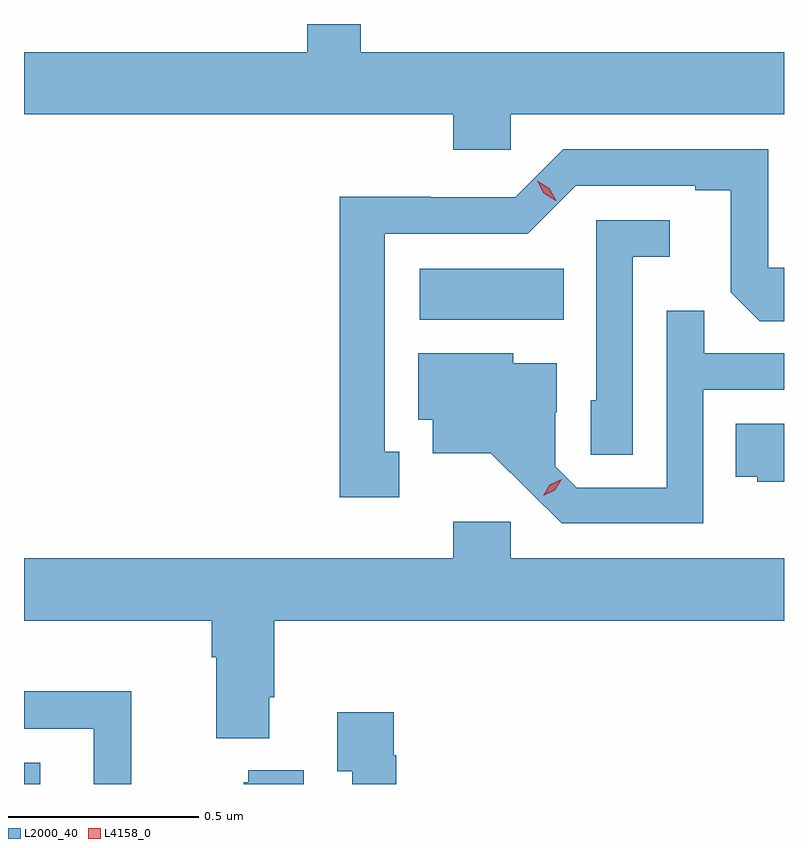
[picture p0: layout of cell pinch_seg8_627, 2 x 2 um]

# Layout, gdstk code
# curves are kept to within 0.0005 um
import gdstk
lib = gdstk.Library(unit=1e-6, precision=1e-09)
def R(c, l, rs):  # rectangles x0, y0, x1, y1
    for r in rs: c.add(gdstk.rectangle(r[:2], r[2:], *l))
def P(c, l, *ps):  # polygons
    for p in ps: c.add(gdstk.Polygon(p, *l))
L2000_40 = (2000, 40)
L4158_0 = (4158, 0)

pinch_seg8_627 = lib.new_cell('pinch_seg8_627')
R(pinch_seg8_627, L2000_40, [(137.889,1100.086,137.932,1100.142), (138.93,1101.308,139.31,1101.442)])
P(pinch_seg8_627, L2000_40, [(139.17,1101.848),(139.889,1101.848),(139.889,1102.012),(138.775,1102.012),(138.775,1102.086),(138.635,1102.086),(138.635,1102.012),(137.889,1102.012),(137.889,1101.848),(139.019,1101.848),(139.019,1101.755),(139.17,1101.755)],
  [(138.877,1100.961),(138.838,1100.961),(138.838,1101.534),(139.215,1101.534),(139.341,1101.66),(139.655,1101.66),(139.655,1101.648),(139.749,1101.648),(139.749,1101.38),(139.825,1101.304),(139.889,1101.304),(139.889,1101.444),(139.848,1101.444),(139.848,1101.756),(139.308,1101.756),(139.182,1101.63),(138.96,1101.63),(138.96,1101.632),(138.72,1101.632),(138.72,1100.841),(138.877,1100.841)],
  [(139.491,1101.473),(139.588,1101.473),(139.588,1101.57),(139.395,1101.57),(139.395,1101.096),(139.38,1101.096),(139.38,1100.953),(139.491,1100.953)],
  [(139.677,1101.123),(139.889,1101.123),(139.889,1101.219),(139.679,1101.219),(139.679,1101.332),(139.581,1101.332),(139.581,1100.865),(139.344,1100.865),(139.287,1100.922),(139.287,1101.064),(139.291,1101.064),(139.291,1101.193),(139.176,1101.193),(139.176,1101.22),(138.926,1101.22),(138.926,1101.044),(138.965,1101.044),(138.965,1100.957),(139.117,1100.957),(139.304,1100.772),(139.677,1100.772)],
  [(139.889,1101.034),(139.762,1101.034),(139.762,1100.894),(139.818,1100.894),(139.818,1100.882),(139.889,1100.882)],
  [(138.535,1100.314),(138.548,1100.314),(138.548,1100.516),(139.889,1100.516),(139.889,1100.68),(139.17,1100.68),(139.17,1100.776),(139.019,1100.776),(139.019,1100.68),(137.889,1100.68),(137.889,1100.516),(138.383,1100.516),(138.383,1100.42),(138.395,1100.42),(138.395,1100.207),(138.535,1100.207)],
  [(138.171,1100.33),(137.889,1100.33),(137.889,1100.232),(138.072,1100.232),(138.072,1100.086),(138.171,1100.086)],
  [(138.869,1100.162),(138.862,1100.162),(138.862,1100.275),(138.713,1100.275),(138.713,1100.119),(138.753,1100.119),(138.753,1100.086),(138.869,1100.086)],
  [(138.625,1100.122),(138.479,1100.122),(138.479,1100.091),(138.467,1100.091),(138.467,1100.086),(138.625,1100.086)])
P(pinch_seg8_627, L4158_0, [(139.255,1100.844),(139.255,1100.845),(139.273,1100.874),(139.304,1100.888),(139.304,1100.888),(139.304,1100.888),(139.286,1100.859),(139.256,1100.844)],
  [(139.288,1101.621),(139.257,1101.64),(139.239,1101.673),(139.239,1101.673),(139.24,1101.673),(139.271,1101.654),(139.289,1101.621),(139.289,1101.621)])

lib.write_gds('pinch_seg8_627.gds')
